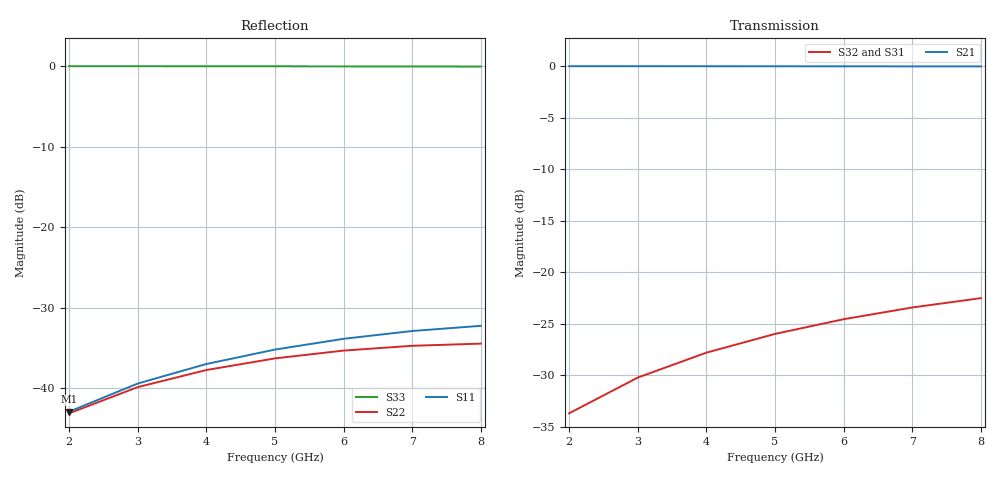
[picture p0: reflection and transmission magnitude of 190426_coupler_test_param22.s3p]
! Sonnet Data File
! From: emgraph Version : 16.56
! From Project: 190426_coupler_test
! Data is De-embedded
! Data File Written: 05/06/2019 15:59:44
!< HDATE 04/25/2019 10:48:44
!< MDATE 04/25/2019 10:59:35
!< PARAMS
!< tandelta = 0.0
!< t_aSi = 0.25
!< W = 10.0
!< Lcoupler = 2100.0
!< END PARAMS
# GHZ S MA R 50.0 !  non standard terminations in data
! TERM 50.00000 0.000000 50.00000 0.000000 63.84000 0.000000
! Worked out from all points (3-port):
!   7 points, 2 GHz to 8 GHz, reference 50 ohm
!   strongest paths, dB at 2 GHz, 3 GHz, 5 GHz, 7 GHz, 8 GHz:
!     S21: 0.0, 0.0, 0.0, 0.0, 0.0
!     S32: -33.7, -30.2, -26.0, -23.4, -22.5
!     S31: -33.7, -30.3, -26.1, -23.6, -22.7
!   lowest |S11| = -42.9 dB at 2 GHz (marker M1), VSWR 1.01, Z = 50.3 + j0.668 ohm
!   |S11| at or under -10 dB: start of sweep to end of sweep
2  0.00713 68.7  0.9998 -21.7  0.02063 52.1
   0.9998 -21.7  0.006963 71.1  0.02069 76.5
   0.02063 52.1  0.02069 76.5  0.9996 -30.1
3  0.01066 57.5  0.9995 -32.6  0.03066 33.2
   0.9995 -32.6  0.01013 61.7  0.03084 69.6
   0.03066 33.2  0.03084 69.6  0.9991 -45.1
4  0.0141 45.7  0.9991 -43.4  0.04034 14.2
   0.9991 -43.4  0.01294 52.4  0.04072 62.7
   0.04034 14.2  0.04072 62.7  0.9984 -60.3
5  0.01733 33.3  0.9986 -54.2  0.04955 -4.8
   0.9986 -54.2  0.01528 43.2  0.05022 55.6
   0.04955 -4.8  0.05022 55.6  0.9975 -75.4
6  0.02022 20.2  0.9981 -65.1  0.05819 -23.8
   0.9981 -65.1  0.01708 34.1  0.05919 48.5
   0.05819 -23.8  0.05919 48.5  0.9965 -90.6
7  0.02261 6.4  0.9976 -75.9  0.06614 -42.8
   0.9976 -75.9  0.01829 25.1  0.06747 41.3
   0.06614 -42.8  0.06747 41.3  0.9955 -105.9
8  0.02434 -8.2  0.997 -86.7  0.0733 -61.8
   0.997 -86.7  0.01887 16.4  0.0749 34.0
   0.0733 -61.8  0.0749 34.0  0.9945 -121.3
